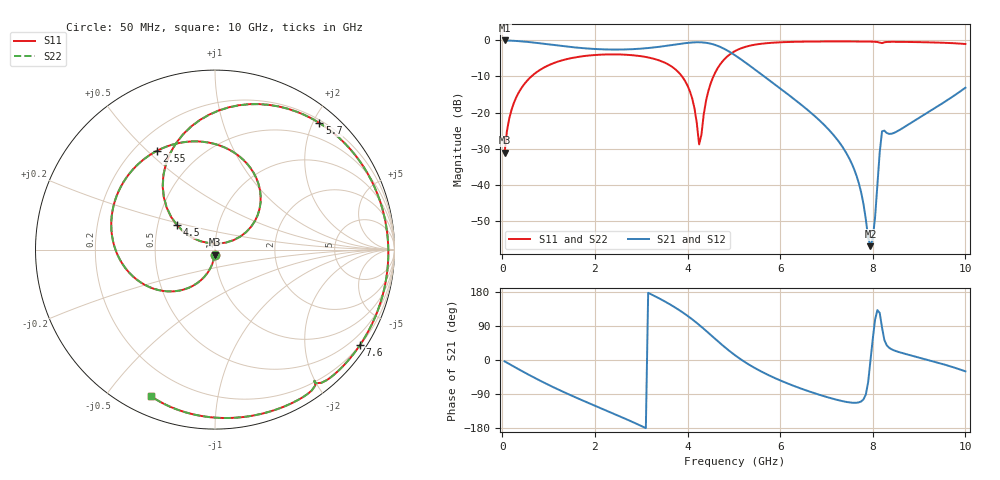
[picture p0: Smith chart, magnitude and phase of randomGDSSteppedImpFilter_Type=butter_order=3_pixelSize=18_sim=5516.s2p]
! freq	dB(S11)	phase(S11)	dB(S12)	phase(S12)
!  dB(S21)	phase(S21)	dB(S22)	phase(S22)
!S-par simulation data
#  GHz  S  DB  R 50
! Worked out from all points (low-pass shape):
!   200 points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, 50 MHz to 10 GHz, reference 50 ohm
!   highest |S21| = -0.01 dB at 50 MHz (marker M1); lowest = -57.1 dB at 7.95 GHz (marker M2)
!   |S21| within 3 dB of the highest: start of sweep to 4.887 GHz
!   lowest |S11| = -31.1 dB at 50 MHz (marker M3), VSWR 1.06, Z = 49.8 - j2.76 ohm
!   |S11| at or under -10 dB: start of sweep to 627.5 MHz; 3.882 GHz to 4.559 GHz (677.2 MHz wide, 16 % of centre)
!   |S22| runs from -31.1 to -0.3 dB; largest |S21 - S12| = 0
!   S11 on the Smith chart (normalised r, x): 50 MHz: 1.00, -0.06; 2.55 GHz: 0.29, +0.54; 4.5 GHz: 0.63, +0.18; 5.7 GHz: 0.24, +2.10; 7.6 GHz: 0.20, -3.33; 10 GHz: 0.08, -0.65
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0.05  -31.14 -93.5  -0.01 -3.5  -0.01 -3.5  -31.14 -93.5
0.2  -19.22 -104.3  -0.07 -14.0  -0.07 -14.0  -19.22 -104.3
0.5  -11.71 -124.7  -0.35 -34.2  -0.35 -34.2  -11.71 -124.7
1.05  -6.60 -159.2  -1.17 -68.7  -1.17 -68.7  -6.60 -159.3
1.75  -4.36 161.9  -2.15 -107.6  -2.15 -107.6  -4.36 161.9
2.55  -3.90 120.4  -2.53 -149.4  -2.53 -149.4  -3.90 120.3
3.4  -5.60 72.6  -1.75 161.8  -1.75 161.8  -5.60 72.5
4  -12.54 32.2  -0.69 116.6  -0.69 116.6  -12.54 32.1
4.15  -18.82 27.0  -0.53 102.7  -0.53 102.7  -18.81 27.1
4.25  -28.84 67.4  -0.51 92.7  -0.51 92.7  -28.77 67.5
4.5  -11.91 147.2  -0.89 66.3  -0.89 66.3  -11.91 147.1
4.75  -5.89 124.5  -2.06 39.4  -2.06 39.4  -5.89 124.3
5.05  -2.78 96.9  -4.33 10.4  -4.33 10.4  -2.78 96.7
5.7  -0.78 50.5  -10.42 -37.0  -10.42 -37.0  -0.78 50.4
6.7  -0.31 1.3  -20.45 -86.0  -20.45 -86.0  -0.31 1.2
7.6  -0.29 -33.3  -35.80 -113.0  -35.80 -113.0  -0.29 -33.4
7.75  -0.30 -38.6  -42.20 -109.3  -42.20 -109.3  -0.30 -38.7
7.95  -0.33 -45.7  -57.07 -1.6  -57.07 -1.6  -0.33 -45.8
8.05  -0.38 -49.4  -49.04 106.7  -49.04 106.7  -0.38 -49.5
8.2  -0.74 -52.8  -25.22 85.5  -25.22 85.5  -0.76 -52.8
8.35  -0.39 -57.4  -25.91 32.6  -25.91 32.6  -0.40 -57.4
10  -0.99 -113.5  -13.12 -29.9  -13.12 -29.9  -1.00 -113.5
